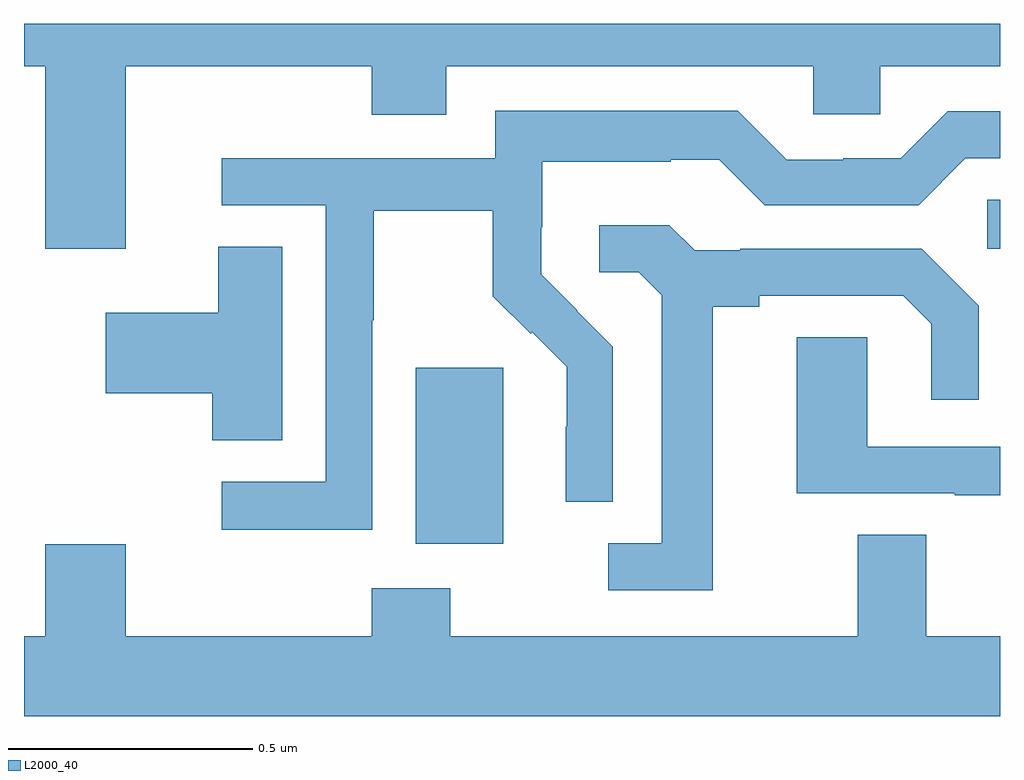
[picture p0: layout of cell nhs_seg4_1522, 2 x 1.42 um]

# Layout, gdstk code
import gdstk
lib = gdstk.Library(unit=1e-6, precision=1e-09)
def R(c, l, rs):  # rectangles x0, y0, x1, y1
    for r in rs: c.add(gdstk.rectangle(r[:2], r[2:], *l))
def P(c, l, *ps):  # polygons
    for p in ps: c.add(gdstk.Polygon(p, *l))
L2000_40 = (2000, 40)

nhs_seg4_1522 = lib.new_cell('nhs_seg4_1522')
R(nhs_seg4_1522, L2000_40, [(129.803,803.834,129.982,804.195), (130.974,804.438,131,804.539)])
P(nhs_seg4_1522, L2000_40, [(129.208,804.812),(129.713,804.812),(129.713,804.713),(129.865,804.713),(129.865,804.812),(130.617,804.812),(130.617,804.714),(130.755,804.714),(130.755,804.812),(131,804.812),(131,804.9),(129,804.9),(129,804.812),(129.044,804.812),(129.044,804.438),(129.208,804.438)],
  [(129.714,804.292),(129.717,804.292),(129.717,804.516),(129.961,804.516),(129.961,804.341),(130.038,804.264),(130.041,804.267),(130.112,804.197),(130.112,804.074),(130.11,804.074),(130.11,803.92),(130.206,803.92),(130.206,804.238),(130.133,804.311),(130.134,804.312),(130.06,804.386),(130.06,804.483),(130.062,804.483),(130.062,804.617),(130.325,804.617),(130.325,804.621),(130.425,804.621),(130.518,804.528),(130.833,804.528),(130.929,804.624),(131,804.624),(131,804.72),(130.893,804.72),(130.797,804.624),(130.679,804.624),(130.679,804.621),(130.563,804.621),(130.463,804.721),(129.966,804.721),(129.966,804.624),(129.405,804.624),(129.405,804.528),(129.618,804.528),(129.618,803.961),(129.405,803.961),(129.405,803.863),(129.714,803.863)],
  [(130.411,804.32),(130.507,804.32),(130.507,804.342),(130.802,804.342),(130.859,804.285),(130.859,804.129),(130.956,804.129),(130.956,804.322),(130.84,804.438),(130.468,804.438),(130.468,804.435),(130.374,804.435),(130.322,804.487),(130.179,804.487),(130.179,804.39),(130.26,804.39),(130.307,804.343),(130.307,803.835),(130.197,803.835),(130.197,803.739),(130.411,803.739)],
  [(129.529,804.443),(129.398,804.443),(129.398,804.307),(129.168,804.307),(129.168,804.142),(129.386,804.142),(129.386,804.046),(129.529,804.046)],
  [(131,804.033),(130.728,804.033),(130.728,804.257),(130.583,804.257),(130.583,803.937),(130.907,803.937),(130.907,803.933),(131,803.933)],
  [(131,803.644),(130.849,803.644),(130.849,803.852),(130.709,803.852),(130.709,803.644),(129.873,803.644),(129.873,803.743),(129.713,803.743),(129.713,803.644),(129.208,803.644),(129.208,803.833),(129.044,803.833),(129.044,803.644),(129,803.644),(129,803.48),(131,803.48)])

lib.write_gds('nhs_seg4_1522.gds')
